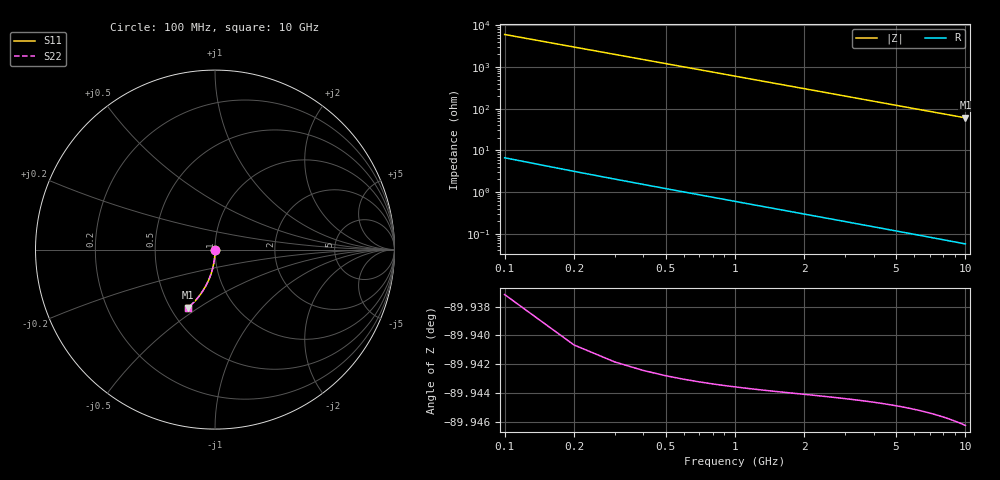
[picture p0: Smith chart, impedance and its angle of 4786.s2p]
# Hz S RI R 50.00
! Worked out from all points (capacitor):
!   100 points, 100 MHz to 10 GHz, reference 50 ohm
!   read as one part in shunt: C = 263 fF near 100 MHz
!   lowest |Z| = 60.3 ohm at 10 GHz (marker M1)
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1e8  7.59e-05 -0.0038  0.9999 -0.00447  0.9999 -0.00447  7.59e-05 -0.0038
2e8  2.16e-05 -0.0076  0.9998 -0.00895  0.9998 -0.00895  2.16e-05 -0.0076
3e8  -6.7e-05 -0.0114  0.9997 -0.0134  0.9997 -0.0134  -6.7e-05 -0.0114
4e8  -0.00019 -0.0152  0.9996 -0.0179  0.9996 -0.0179  -0.00019 -0.0152
5e8  -0.000346 -0.019  0.9994 -0.0224  0.9994 -0.0224  -0.000346 -0.019
6e8  -0.000537 -0.0228  0.9993 -0.0268  0.9993 -0.0268  -0.000537 -0.0228
7e8  -0.000762 -0.0266  0.999 -0.0313  0.999 -0.0313  -0.000762 -0.0266
8e8  -0.00102 -0.0304  0.9988 -0.0358  0.9988 -0.0358  -0.00102 -0.0304
9e8  -0.00131 -0.0342  0.9985 -0.0402  0.9985 -0.0402  -0.00131 -0.0342
1.1e9  -0.002 -0.0417  0.9978 -0.0491  0.9978 -0.0491  -0.002 -0.0417
1.4e9  -0.00328 -0.0531  0.9965 -0.0625  0.9965 -0.0625  -0.00328 -0.0531
1.8e9  -0.00546 -0.0681  0.9943 -0.0802  0.9943 -0.0802  -0.00546 -0.0681
2.1e9  -0.00745 -0.0793  0.9922 -0.0934  0.9922 -0.0934  -0.00745 -0.0793
2.5e9  -0.0106 -0.0941  0.9891 -0.111  0.9891 -0.111  -0.0106 -0.0941
2.9e9  -0.0142 -0.1088  0.9854 -0.1284  0.9854 -0.1284  -0.0142 -0.1088
3.4e9  -0.0194 -0.1269  0.9801 -0.1499  0.9801 -0.1499  -0.0194 -0.1269
4.2e9  -0.0295 -0.1552  0.9699 -0.1836  0.9699 -0.1836  -0.0295 -0.1552
5.1e9  -0.043 -0.1859  0.9562 -0.2204  0.9562 -0.2204  -0.043 -0.1859
5.9e9  -0.0568 -0.212  0.9422 -0.252  0.9422 -0.252  -0.0568 -0.212
6.7e9  -0.0723 -0.2367  0.9265 -0.2822  0.9265 -0.2822  -0.0723 -0.2367
8.4e9  -0.1097 -0.2845  0.8884 -0.3418  0.8884 -0.3418  -0.1097 -0.2845
1e10  -0.1494 -0.323  0.848 -0.3915  0.848 -0.3915  -0.1494 -0.323
